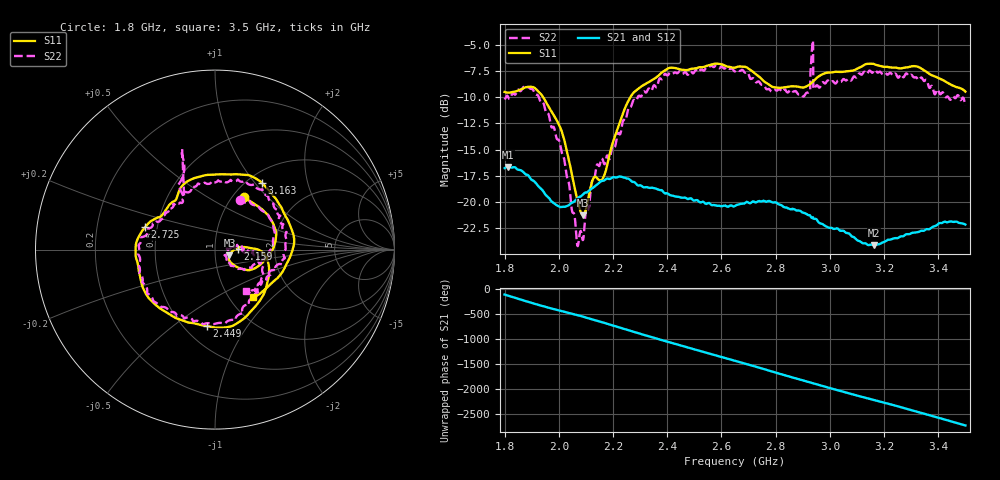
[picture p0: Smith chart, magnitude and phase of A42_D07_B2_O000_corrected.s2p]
! Created with skrf 1.9.0 (http://scikit-rf.org).
# Hz S RI R 50.0
!freq ReS11 ImS11 ReS21 ImS21 ReS12 ImS12 ReS22 ImS22
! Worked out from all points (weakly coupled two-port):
!   1601 points, 1.8 GHz to 3.5 GHz, reference 50 ohm
!   highest |S21| = -16.65 dB at 1.812 GHz (marker M1); lowest = -24.1 dB at 3.163 GHz (marker M2)
!   lowest |S11| = -21.3 dB at 2.09 GHz (marker M3), VSWR 1.19, Z = 58.6 - j3.7 ohm
!   |S11| at or under -10 dB: 1.943 GHz to 2.264 GHz (321.2 MHz wide, 15.3 % of centre)
!   |S22| runs from -24.2 to -4.6 dB; largest |S21 - S12| = 0.0027
!   S11 on the Smith chart (normalised r, x): 1.8 GHz: 1.12, +0.74; 2.159 GHz: 1.29, +0.01; 2.449 GHz: 0.64, -0.67; 2.725 GHz: 0.43, +0.13; 3.163 GHz: 1.15, +1.09; 3.5 GHz: 1.28, -0.76
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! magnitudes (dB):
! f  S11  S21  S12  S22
! 1.8 GHz  -9.5  -16.8  -16.8  -10.2
! 1.812 GHz  -9.6  -16.6  -16.6  -9.9
! 1.886 GHz  -9.0  -17.4  -17.5  -9.0
! 1.942 GHz  -10.0  -19.0  -19.0  -10.5
! 2.011 GHz  -13.3  -20.5  -20.5  -15.3
! 2.067 GHz  -19.6  -19.7  -19.7  -23.8
! 2.084 GHz  -21.1  -19.4  -19.4  -23.0
! 2.09 GHz  -21.3  -19.2  -19.3  -23.6
! 2.127 GHz  -17.7  -18.6  -18.6  -18.0
! 2.159 GHz  -17.9  -18.0  -17.9  -15.8
! 2.26 GHz  -10.2  -17.8  -17.8  -10.9
! 2.367 GHz  -7.9  -18.8  -18.8  -8.5
! 2.449 GHz  -7.4  -19.6  -19.6  -7.6
! 2.65 GHz  -7.2  -20.4  -20.3  -7.5
! 2.725 GHz  -7.8  -20.0  -20.0  -8.5
! 2.903 GHz  -9.1  -21.0  -21.0  -9.9
! 2.919 GHz  -8.9  -21.2  -21.2  -9.6
! 2.934 GHz  -8.6  -21.5  -21.5  -5.5
! 2.947 GHz  -8.2  -21.6  -21.7  -9.0
! 3.163 GHz  -6.8  -24.1  -24.1  -7.4
! 3.217 GHz  -7.1  -23.6  -23.6  -7.8
! 3.5 GHz  -9.5  -22.1  -22.1  -10.8
